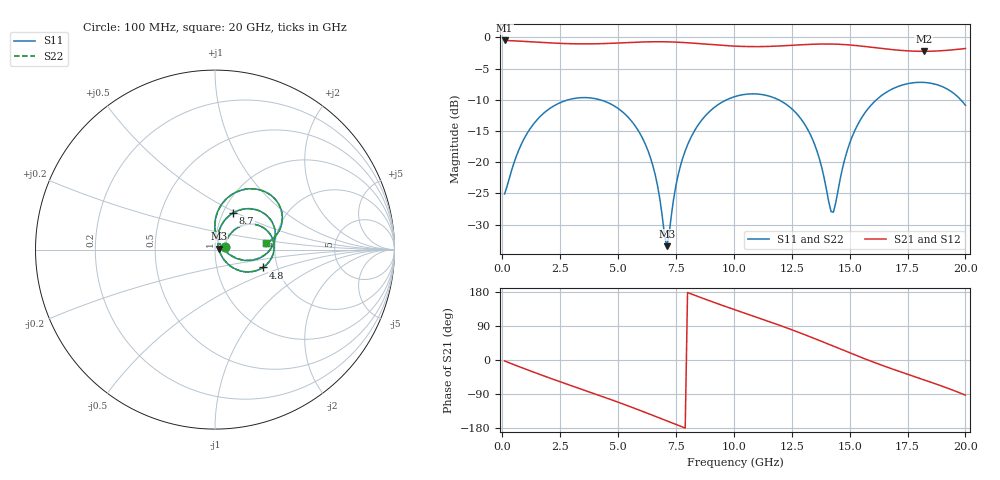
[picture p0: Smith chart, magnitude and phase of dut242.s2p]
! Touchstone file exported from HFSS 2026.1.0
!  File:  C:/ffzhzh/LocalFiles/Ansys_Project_Files/temp_train_TSV_RDL_242_1783066669_36532.aedt
!  Generated:  04:27:56 PM Jul  3, 2026
!  Design:  TSV_RDL
!  Project:  temp_train_TSV_RDL_242_1783066669_36532
! Variables:
!  h_bsmrdl = 5.66um
!  h_ox = 20um
!  h_rdl = 5um
!  h_sub = 80.17um
!  h_tmrdl = 2.48um
!  h_tsv = 80.17um
!  h_via = 3um
!  l_bsmrdl = 890.49um
!  l_sub = 6411.58um
!  l_tmrdl = 816.48um
!  m_sub = 200um
!  pitch = 30.06um
!  r_tsv = 13.85um
!  s_tmrdl = 10um
!  w_bsmrdl = 13.95um
!  w_sub = 500um
!  w_tmrdl = 10.78um
!  x_tsv_center1 = 821.87um
!  x_tsv_center2 = 1726.31um
!  x_tsv_center3 = 2553.57um
!  x_tsv_center4 = 3458.01um
!  x_tsv_center5 = 4285.27um
!  x_tsv_center6 = 5189.71um
# GHz S MA R 50.000000
! Terminal data exported
! Port[1] = TM_RDL1_1_T1
! Port[2] = TM_RDL5_1_T1
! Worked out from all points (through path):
!   200 points, 100 MHz to 20 GHz, reference 50 ohm
!   highest |S21| = -0.48 dB at 100 MHz (marker M1); lowest = -2.2 dB at 18.2 GHz (marker M2)
!   group delay of S21, straight-line fit = 62.9 ps
!   lowest |S11| = -33.5 dB at 7.1 GHz (marker M3), VSWR 1.04, Z = 52.1 + j0.522 ohm
!   |S11| at or under -10 dB: start of sweep to 2.836 GHz; 4.234 GHz to 9.681 GHz (5.447 GHz wide, 78.3 % of centre); 11.94 GHz to 16.16 GHz (4.217 GHz wide, 30 % of centre) (the widest 3 of 4)
!   |S22| runs from -33.5 to -7.2 dB; largest |S21 - S12| = 1.6e-14
!   S11 on the Smith chart (normalised r, x): 100 MHz: 1.11, +0.03; 4.8 GHz: 1.68, -0.36; 8.7 GHz: 1.12, +0.48; 20 GHz: 1.79, +0.14
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0.1  0.0558 15.5  0.9468 -2.5  0.9468 -2.5  0.0558 15.5
! Gamma 0 0 0 0
! Port Impedance 50 0 50 0
0.7  0.1238 45.5  0.9363 -16.9  0.9363 -16.9  0.1238 45.5
1.4  0.2081 40.8  0.9203 -33.1  0.9203 -33.1  0.2081 40.9
3.5  0.3298 4.5  0.8882 -78.8  0.8882 -78.8  0.3298 4.5
4.8  0.2852 -20.4  0.8997 -106.8  0.8997 -106.8  0.2852 -20.4
6.1  0.15 -44.4  0.9209 -136.6  0.9209 -136.6  0.1499 -44.4
6.5  0.09436 -48.6  0.9242 -146.1  0.9242 -146.1  0.09433 -48.6
6.8  0.0514 -44.0  0.9246 -153.3  0.9246 -153.3  0.05135 -44.1
7.1  0.02125 13.6  0.9231 -160.5  0.9231 -160.5  0.02108 13.7
7.7  0.09443 78.1  0.9142 -174.9  0.9142 -174.9  0.09437 78.2
8.7  0.2278 63.7  0.8873 161.9  0.8873 161.9  0.2277 63.8
10.1  0.3385 36.9  0.8516 131.4  0.8516 131.4  0.3384 37.1
12  0.3121 1.1  0.8553 91.1  0.8553 91.1  0.3121 1.3
13.4  0.1525 -21.6  0.8829 58.7  0.8829 58.7  0.1527 -21.0
13.8  0.09018 -20.1  0.8867 48.9  0.8867 48.9  0.09069 -19.1
14.2  0.04017 20.6  0.8864 38.9  0.8864 38.9  0.04154 21.4
14.3  0.0398 44.8  0.8856 36.4  0.8856 36.4  0.04124 44.6
14.8  0.1076 89.7  0.8768 23.9  0.8768 23.9  0.1082 89.1
15.2  0.1755 88.9  0.8648 14.1  0.8648 14.1  0.1759 88.5
16.7  0.3745 63.7  0.8046 -20.6  0.8046 -20.6  0.3746 63.6
18.2  0.4366 36.6  0.7746 -52.2  0.7746 -52.2  0.4366 36.6
20  0.2862 7.1  0.8157 -92.8  0.8157 -92.8  0.2862 7.2
